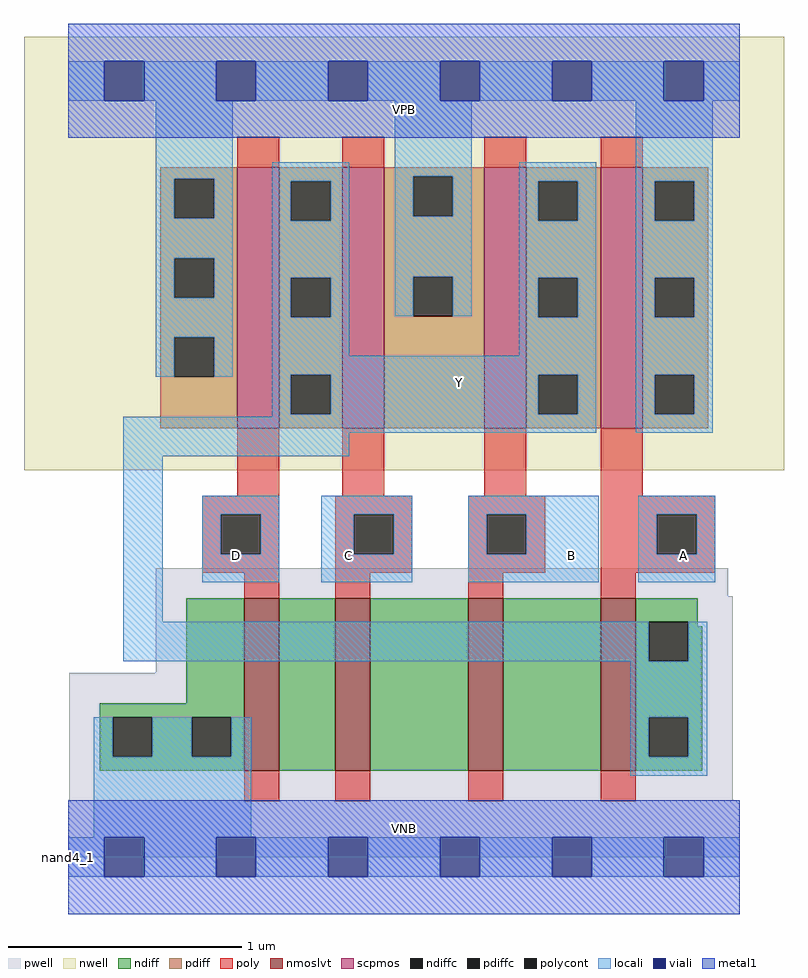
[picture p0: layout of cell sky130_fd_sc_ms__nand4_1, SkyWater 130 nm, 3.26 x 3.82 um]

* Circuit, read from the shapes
.subckt sky130_fd_sc_ms__nand4_1 A B C D VGND VNB VPB VPWR Y
XM1 n1 D VGND VNB sky130_fd_pr__nfet_01v8_lvt w=0.74 l=0.15
XM2 n2 C n1 VNB sky130_fd_pr__nfet_01v8_lvt w=0.74 l=0.15
XM3 n3 B n2 VNB sky130_fd_pr__nfet_01v8_lvt w=0.74 l=0.15
XM4 Y A n3 VNB sky130_fd_pr__nfet_01v8_lvt w=0.74 l=0.15
XM5 Y D VPWR VPB sky130_fd_pr__pfet_01v8 w=1.12 l=0.18
XM6 VPWR C Y VPB sky130_fd_pr__pfet_01v8 w=1.12 l=0.18
XM7 Y B VPWR VPB sky130_fd_pr__pfet_01v8 w=1.12 l=0.18
XM8 VPWR A Y VPB sky130_fd_pr__pfet_01v8 w=1.12 l=0.18
.ends

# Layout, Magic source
magic
tech sky130A
magscale 1 2
<< nwell >>
rect -38 332 614 704
<< pwell >>
rect 75 224 566 248
rect 75 158 570 224
rect 1 49 570 158
rect 0 0 576 49
<< scpmos >>
rect 145 368 181 592
rect 235 368 271 592
rect 357 368 393 592
rect 457 368 493 592
<< nmoslvt >>
rect 151 74 181 222
rect 229 74 259 222
rect 343 74 373 222
rect 457 74 487 222
<< ndiff >>
rect 101 132 151 222
rect 27 120 151 132
rect 27 86 38 120
rect 72 86 106 120
rect 140 86 151 120
rect 27 74 151 86
rect 181 74 229 222
rect 259 74 343 222
rect 373 74 457 222
rect 487 202 540 222
rect 487 168 498 202
rect 532 198 540 202
rect 532 168 544 198
rect 487 120 544 168
rect 487 86 498 120
rect 532 86 544 120
rect 487 74 544 86
<< pdiff >>
rect 79 582 145 592
rect 79 548 91 582
rect 125 548 145 582
rect 79 514 145 548
rect 79 480 91 514
rect 125 480 145 514
rect 79 446 145 480
rect 79 412 91 446
rect 125 412 145 446
rect 79 368 145 412
rect 181 580 235 592
rect 181 546 191 580
rect 225 546 235 580
rect 181 497 235 546
rect 181 463 191 497
rect 225 463 235 497
rect 181 414 235 463
rect 181 380 191 414
rect 225 380 235 414
rect 181 368 235 380
rect 271 584 357 592
rect 271 550 296 584
rect 330 550 357 584
rect 271 498 357 550
rect 271 464 296 498
rect 330 464 357 498
rect 271 368 357 464
rect 393 580 457 592
rect 393 546 403 580
rect 437 546 457 580
rect 393 497 457 546
rect 393 463 403 497
rect 437 463 457 497
rect 393 414 457 463
rect 393 380 403 414
rect 437 380 457 414
rect 393 368 457 380
rect 493 580 549 592
rect 493 546 503 580
rect 537 546 549 580
rect 493 497 549 546
rect 493 463 503 497
rect 537 463 549 497
rect 493 414 549 463
rect 493 380 503 414
rect 537 380 549 414
rect 493 368 549 380
<< ndiffc >>
rect 38 86 72 120
rect 106 86 140 120
rect 498 168 532 202
rect 498 86 532 120
<< pdiffc >>
rect 91 548 125 582
rect 91 480 125 514
rect 91 412 125 446
rect 191 546 225 580
rect 191 463 225 497
rect 191 380 225 414
rect 296 550 330 584
rect 296 464 330 498
rect 403 546 437 580
rect 403 463 437 497
rect 403 380 437 414
rect 503 546 537 580
rect 503 463 537 497
rect 503 380 537 414
<< poly >>
rect 145 592 181 618
rect 235 592 271 618
rect 357 592 393 618
rect 457 592 493 618
rect 145 310 181 368
rect 235 310 271 368
rect 357 310 393 368
rect 457 310 493 368
rect 115 294 181 310
rect 115 260 131 294
rect 165 260 181 294
rect 115 244 181 260
rect 151 222 181 244
rect 229 294 295 310
rect 229 260 245 294
rect 279 260 295 294
rect 229 244 295 260
rect 343 294 409 310
rect 343 260 359 294
rect 393 260 409 294
rect 343 244 409 260
rect 457 294 555 310
rect 457 260 505 294
rect 539 260 555 294
rect 457 244 555 260
rect 229 222 259 244
rect 343 222 373 244
rect 457 222 487 244
rect 151 48 181 74
rect 229 48 259 74
rect 343 48 373 74
rect 457 48 487 74
<< polycont >>
rect 131 260 165 294
rect 245 260 279 294
rect 359 260 393 294
rect 505 260 539 294
<< locali >>
rect 0 649 31 683
rect 65 649 127 683
rect 161 649 223 683
rect 257 649 319 683
rect 353 649 415 683
rect 449 649 511 683
rect 545 649 576 683
rect 75 582 141 649
rect 75 548 91 582
rect 125 548 141 582
rect 75 514 141 548
rect 75 480 91 514
rect 125 480 141 514
rect 75 446 141 480
rect 75 412 91 446
rect 125 412 141 446
rect 175 580 241 596
rect 175 546 191 580
rect 225 546 241 580
rect 175 497 241 546
rect 175 463 191 497
rect 225 463 241 497
rect 280 584 346 649
rect 280 550 296 584
rect 330 550 346 584
rect 280 498 346 550
rect 280 464 296 498
rect 330 464 346 498
rect 387 580 453 596
rect 387 546 403 580
rect 437 546 453 580
rect 387 497 453 546
rect 175 430 241 463
rect 387 463 403 497
rect 437 463 453 497
rect 387 430 453 463
rect 175 414 453 430
rect 175 380 191 414
rect 225 380 403 414
rect 437 380 453 414
rect 175 378 453 380
rect 47 364 453 378
rect 487 580 553 649
rect 487 546 503 580
rect 537 546 553 580
rect 487 497 553 546
rect 487 463 503 497
rect 537 463 553 497
rect 487 414 553 463
rect 487 380 503 414
rect 537 380 553 414
rect 487 364 553 380
rect 47 344 241 364
rect 47 202 81 344
rect 115 294 181 310
rect 115 260 131 294
rect 165 260 181 294
rect 115 236 181 260
rect 217 294 295 310
rect 217 260 245 294
rect 279 260 295 294
rect 217 236 295 260
rect 343 294 455 310
rect 343 260 359 294
rect 393 260 455 294
rect 343 236 455 260
rect 489 294 555 310
rect 489 260 505 294
rect 539 260 555 294
rect 489 236 555 260
rect 47 168 498 202
rect 532 168 548 202
rect 482 120 548 168
rect 22 86 38 120
rect 72 86 106 120
rect 140 86 157 120
rect 22 17 157 86
rect 482 86 498 120
rect 532 86 548 120
rect 482 70 548 86
rect 0 -17 31 17
rect 65 -17 127 17
rect 161 -17 223 17
rect 257 -17 319 17
rect 353 -17 415 17
rect 449 -17 511 17
rect 545 -17 576 17
<< viali >>
rect 31 649 65 683
rect 127 649 161 683
rect 223 649 257 683
rect 319 649 353 683
rect 415 649 449 683
rect 511 649 545 683
rect 31 -17 65 17
rect 127 -17 161 17
rect 223 -17 257 17
rect 319 -17 353 17
rect 415 -17 449 17
rect 511 -17 545 17
<< metal1 >>
rect 0 683 576 715
rect 0 649 31 683
rect 65 649 127 683
rect 161 649 223 683
rect 257 649 319 683
rect 353 649 415 683
rect 449 649 511 683
rect 545 649 576 683
rect 0 617 576 649
rect 0 17 576 49
rect 0 -17 31 17
rect 65 -17 127 17
rect 161 -17 223 17
rect 257 -17 319 17
rect 353 -17 415 17
rect 449 -17 511 17
rect 545 -17 576 17
rect 0 -49 576 -17
<< labels >>
flabel pwell s 0 0 576 49 0 FreeSans 200 0 0 0 VNB
port 6 nsew ground bidirectional
flabel nwell s 0 617 576 666 0 FreeSans 200 0 0 0 VPB
port 7 nsew power bidirectional
rlabel comment s 0 0 0 0 4 nand4_1
flabel metal1 s 0 617 576 666 0 FreeSans 340 0 0 0 VPWR
port 8 nsew power bidirectional
flabel metal1 s 0 0 576 49 0 FreeSans 340 0 0 0 VGND
port 5 nsew ground bidirectional
flabel locali s 223 242 257 276 0 FreeSans 340 0 0 0 C
port 3 nsew signal input
flabel locali s 319 390 353 424 0 FreeSans 340 0 0 0 Y
port 9 nsew signal output
flabel locali s 127 242 161 276 0 FreeSans 340 0 0 0 D
port 4 nsew signal input
flabel locali s 415 242 449 276 0 FreeSans 340 0 0 0 B
port 2 nsew signal input
flabel locali s 511 242 545 276 0 FreeSans 340 0 0 0 A
port 1 nsew signal input
<< properties >>
string LEFsite unit
string LEFclass CORE
string FIXED_BBOX 0 0 576 666
string GDS_FILE $PDKPATH/libs.ref/sky130_fd_sc_ms/gds/sky130_fd_sc_ms.gds
string LEFsymmetry X Y
string GDS_END 2630482
string GDS_START 2625230
<< end >>
